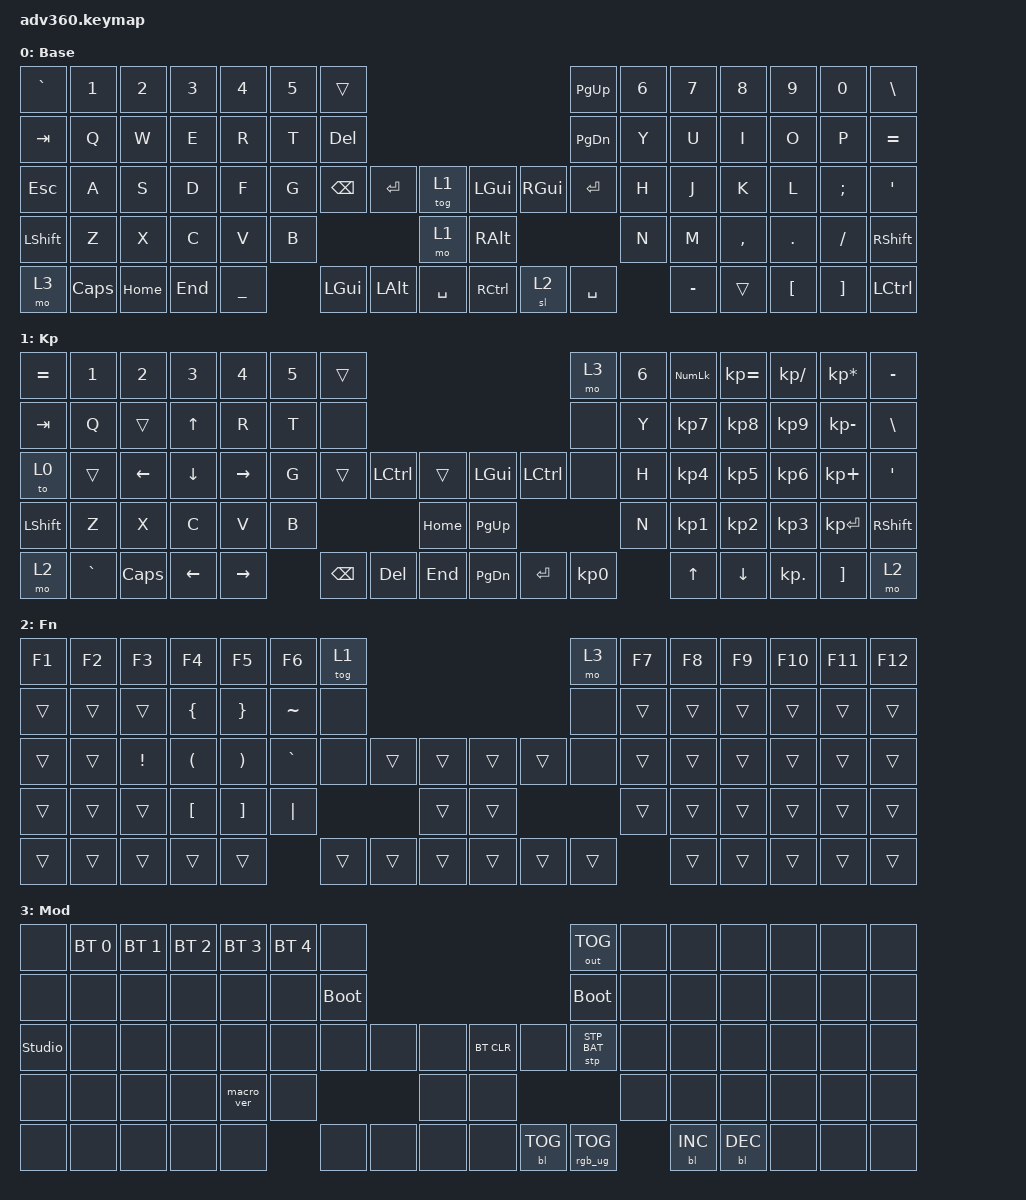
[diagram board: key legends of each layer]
#include <dt-bindings/zmk/stp.h>
#include <behaviors.dtsi>
#include <dt-bindings/zmk/backlight.h>
#include <dt-bindings/zmk/bt.h>
#include <dt-bindings/zmk/keys.h>
#include <dt-bindings/zmk/outputs.h>
#include <dt-bindings/zmk/rgb.h>

/ {
    behaviors {
        #include "macros.dtsi"
      #include "version.dtsi"

        hm: homerow_mods {
            compatible = "zmk,behavior-hold-tap";
            label = "HOMEROW_MODS";
            #binding-cells = <2>;
            tapping-term-ms = <200>;
            quick_tap_ms = <175>;
            flavor = "tap-preferred";
            bindings = <&kp>, <&kp>;
        };
    };

    keymap {
        compatible = "zmk,keymap";

        default_layer {
            display-name = "Base";
            bindings = <
&kp GRAVE  &kp N1        &kp N2    &kp N3   &kp N4          &kp N5  &trans                                                   &kp PG_UP  &kp N6  &kp N7     &kp N8     &kp N9    &kp N0    &kp BSLH
&kp TAB    &kp Q         &kp W     &kp E    &kp R           &kp T   &kp DEL                                                  &kp PG_DN  &kp Y   &kp U      &kp I      &kp O     &kp P     &kp EQUAL
&kp ESC    &kp A         &kp S     &kp D    &kp F           &kp G   &kp BSPC  &kp ENTER  &tog 1         &kp LGUI   &kp RGUI  &kp ENTER  &kp H   &kp J      &kp K      &kp L     &kp SEMI  &kp SQT
&kp LSHFT  &kp Z         &kp X     &kp C    &kp V           &kp B                        &mo 1          &kp RALT                        &kp N   &kp M      &kp COMMA  &kp DOT   &kp FSLH  &kp RSHFT
&mo 3      &kp CAPSLOCK  &kp HOME  &kp END  &kp UNDERSCORE          &kp LGUI  &kp LALT   &kp SPACE      &kp RCTRL  &sl 2     &kp SPACE          &kp MINUS  &trans     &kp LBKT  &kp RBKT  &kp LEFT_CONTROL
            >;
        };

        keypad {
            display-name = "Kp";
            bindings = <
&kp EQUAL  &kp N1     &kp N2    &kp N3    &kp N4     &kp N5  &trans                                                   &mo 3      &kp N6  &kp KP_NUM  &kp KP_EQUAL  &kp KP_DIVIDE  &kp KP_MULTIPLY  &kp MINUS
&kp TAB    &kp Q      &trans    &kp UP    &kp R      &kp T   &none                                                    &none      &kp Y   &kp KP_N7   &kp KP_N8     &kp KP_N9      &kp KP_MINUS     &kp BSLH
&to 0      &trans     &kp LEFT  &kp DOWN  &kp RIGHT  &kp G   &trans    &kp LCTRL  &trans        &kp LGUI   &kp LCTRL  &none      &kp H   &kp KP_N4   &kp KP_N5     &kp KP_N6      &kp KP_PLUS      &kp SQT
&kp LSHFT  &kp Z      &kp X     &kp C     &kp V      &kp B                        &kp HOME      &kp PG_UP                        &kp N   &kp KP_N1   &kp KP_N2     &kp KP_N3      &kp KP_ENTER     &kp RSHFT
&mo 2      &kp GRAVE  &kp CAPS  &kp LEFT  &kp RIGHT          &kp BSPC  &kp DEL    &kp END       &kp PG_DN  &kp ENTER  &kp KP_N0          &kp UP      &kp DOWN      &kp KP_DOT     &kp RBKT         &mo 2
            >;
        };

        fn {
            display-name = "Fn";
            bindings = <
&kp F1  &kp F2  &kp F3           &kp F4                &kp F5                 &kp F6     &tog 1                                      &mo 3   &kp F7  &kp F8  &kp F9  &kp F10  &kp F11  &kp F12
&trans  &trans  &trans           &kp LEFT_BRACE        &kp RIGHT_BRACE        &kp TILDE  &none                                       &none   &trans  &trans  &trans  &trans   &trans   &trans
&trans  &trans  &kp EXCLAMATION  &kp LEFT_PARENTHESIS  &kp RIGHT_PARENTHESIS  &kp GRAVE  &none   &trans  &trans      &trans  &trans  &none   &trans  &trans  &trans  &trans   &trans   &trans
&trans  &trans  &trans           &kp LBKT              &kp RBKT               &kp PIPE                   &trans      &trans                  &trans  &trans  &trans  &trans   &trans   &trans
&trans  &trans  &trans           &trans                &trans                            &trans  &trans  &trans      &trans  &trans  &trans          &trans  &trans  &trans   &trans   &trans
            >;
        };

        mod {
            display-name = "Mod";
            bindings = <
&none           &bt BT_SEL 0  &bt BT_SEL 1  &bt BT_SEL 2  &bt BT_SEL 3  &bt BT_SEL 4  &none                                                  &out OUT_TOG     &none  &none       &none       &none  &none  &none
&none           &none         &none         &none         &none         &none         &bootloader                                            &bootloader      &none  &none       &none       &none  &none  &none
&studio_unlock  &none         &none         &none         &none         &none         &none        &none  &none      &bt BT_CLR  &none       &stp STP_BAT     &none  &none       &none       &none  &none  &none
&none           &none         &none         &none         &macro_ver    &none                             &none      &none                                    &none  &none       &none       &none  &none  &none
&none           &none         &none         &none         &none                       &none        &none  &none      &none       &bl BL_TOG  &rgb_ug RGB_TOG         &bl BL_INC  &bl BL_DEC  &none  &none  &none
            >;
        };

        extra1 {
            display-name = "Red";
            status = "reserved";
        };

        extra2 {
            display-name = "Purple";
            status = "reserved";
        };

        extra3 {
            display-name = "Cyan";
            status = "reserved";
        };

        extra4 {
            display-name = "Yellow";
            status = "reserved";
        };
    };
};
